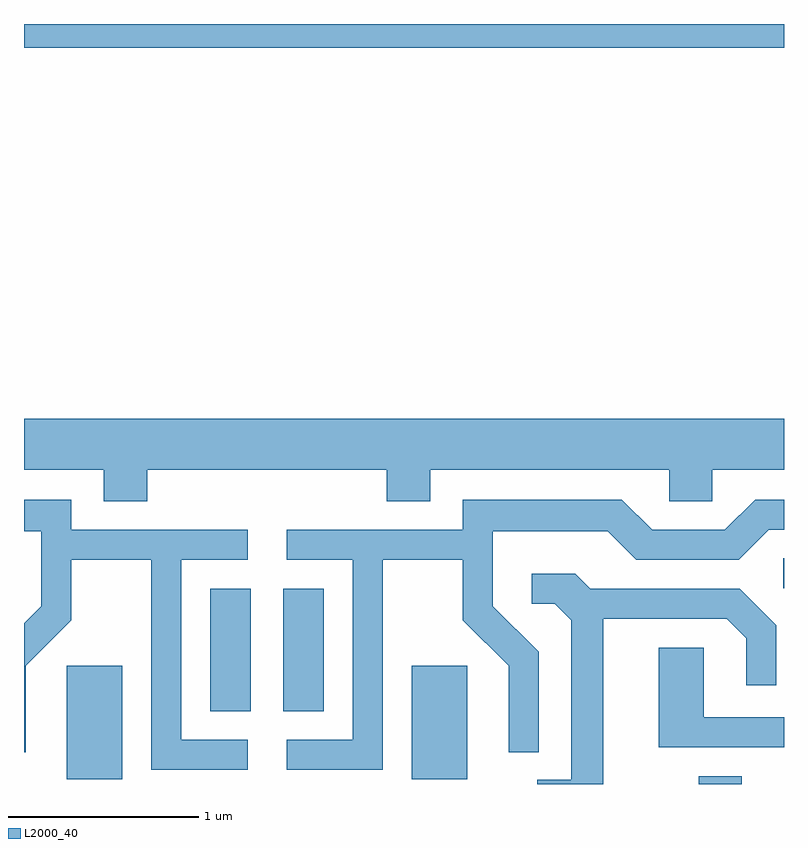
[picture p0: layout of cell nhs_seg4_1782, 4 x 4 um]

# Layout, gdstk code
import gdstk
lib = gdstk.Library(unit=1e-6, precision=1e-09)
def R(c, l, rs):  # rectangles x0, y0, x1, y1
    for r in rs: c.add(gdstk.rectangle(r[:2], r[2:], *l))
def P(c, l, *ps):  # polygons
    for p in ps: c.add(gdstk.Polygon(p, *l))
L2000_40 = (2000, 40)

nhs_seg4_1782 = lib.new_cell('nhs_seg4_1782')
R(nhs_seg4_1782, L2000_40, [(241.161,1281.982,241.389,1282.024), (237.836,1282.006,238.129,1282.604), (239.651,1282.006,239.944,1282.604), (238.591,1282.366,238.804,1283.009), (238.976,1282.366,239.189,1283.009), (241.608,1283.011,241.611,1283.169), (237.611,1285.856,241.611,1285.982)])
P(nhs_seg4_1782, L2000_40, [(238.259,1283.636),(239.521,1283.636),(239.521,1283.471),(239.749,1283.471),(239.749,1283.636),(241.006,1283.636),(241.006,1283.471),(241.234,1283.471),(241.234,1283.636),(241.611,1283.636),(241.611,1283.904),(237.611,1283.904),(237.611,1283.636),(238.031,1283.636),(238.031,1283.471),(238.259,1283.471)],
  [(238.788,1282.214),(238.439,1282.214),(238.439,1283.161),(238.788,1283.161),(238.788,1283.319),(237.859,1283.319),(237.859,1283.479),(237.611,1283.479),(237.611,1283.311),(237.701,1283.311),(237.701,1282.917),(237.611,1282.827),(237.611,1282.148),(237.619,1282.148),(237.619,1282.604),(237.859,1282.844),(237.859,1283.161),(238.281,1283.161),(238.281,1282.056),(238.788,1282.056)],
  [(239.499,1283.161),(239.921,1283.161),(239.921,1282.844),(240.161,1282.604),(240.161,1282.148),(240.319,1282.148),(240.319,1282.677),(240.079,1282.917),(240.079,1283.311),(240.684,1283.311),(240.834,1283.161),(241.372,1283.161),(241.532,1283.321),(241.611,1283.321),(241.611,1283.479),(241.459,1283.479),(241.299,1283.319),(240.917,1283.319),(240.757,1283.479),(239.921,1283.479),(239.921,1283.319),(238.993,1283.319),(238.993,1283.161),(239.341,1283.161),(239.341,1282.214),(238.993,1282.214),(238.993,1282.056),(239.499,1282.056)],
  [(240.659,1282.851),(241.309,1282.851),(241.411,1282.749),(241.411,1282.503),(241.569,1282.503),(241.569,1282.817),(241.377,1283.009),(240.592,1283.009),(240.512,1283.089),(240.283,1283.089),(240.283,1282.931),(240.404,1282.931),(240.491,1282.844),(240.491,1282.004),(240.313,1282.004),(240.313,1281.982),(240.659,1281.982)],
  [(241.611,1282.334),(241.189,1282.334),(241.189,1282.699),(240.951,1282.699),(240.951,1282.176),(241.611,1282.176)])

lib.write_gds('nhs_seg4_1782.gds')
